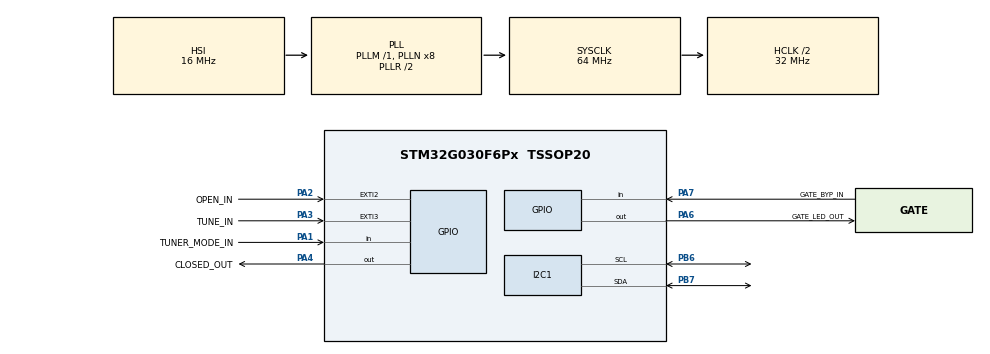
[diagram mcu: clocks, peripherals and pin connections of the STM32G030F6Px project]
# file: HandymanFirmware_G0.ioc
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I2C1.Timing=0x00B07CB4
Mcu.Family=STM32G0
Mcu.Name=STM32G030F6Px
Mcu.Package=TSSOP20
NVIC.EXTI2_3_IRQn=true\:0\:0\:false\:false\:true\:true\:true\:true
NVIC.TIM14_IRQn=true\:0\:0\:false\:false\:true\:true\:true\:true
PA1.GPIO_Label=TUNER_MODE_IN
PA1.Signal=GPIO_Input
PA13.Mode=Serial_Wire
PA13.Signal=SYS_SWDIO
PA14-BOOT0.Mode=Serial_Wire
PA14-BOOT0.Signal=SYS_SWCLK
PA14-BOOT0__PA15.StandardMode=true
PA2.GPIO_Label=OPEN_IN
PA2.GPIO_ModeDefaultEXTI=GPIO_MODE_IT_RISING_FALLING
PA2.Signal=GPXTI2
PA3.GPIO_Label=TUNE_IN
PA3.GPIO_ModeDefaultEXTI=GPIO_MODE_IT_RISING
PA3.Signal=GPXTI3
PA4.GPIO_Label=CLOSED_OUT
PA4.Signal=GPIO_Output
PA6.GPIO_Label=GATE_LED_OUT
PA6.Signal=GPIO_Output
PA7.GPIO_Label=GATE_BYP_IN
PA7.Signal=GPIO_Input
PB0__PB1__PB2__PA8.StandardMode=true
PB3__PB4__PB5__PB6.StandardMode=true
PB6.Mode=I2C
PB6.Signal=I2C1_SCL
PB7.Mode=I2C
PB7.Signal=I2C1_SDA
PB7__PB8.StandardMode=true
PC14-OSC32_IN\ (PC14).Mode=LSE-External-Oscillator
PC14-OSC32_IN\ (PC14).Signal=RCC_OSC32_IN
PC14-OSC32_IN\ (PC14)__PB9.StandardMode=true
PC15-OSC32_OUT\ (PC15).Mode=LSE-External-Oscillator
PC15-OSC32_OUT\ (PC15).Signal=RCC_OSC32_OUT
ProjectManager.HeapSize=0x200
ProjectManager.StackSize=0x400
ProjectManager.TargetToolchain=STM32CubeIDE
RCC.ADCFreq_Value=64000000
RCC.AHBCLKDivider=RCC_SYSCLK_DIV2
RCC.AHBFreq_Value=32000000
RCC.CortexFreq_Value=32000000
RCC.EXTERNAL_CLOCK_VALUE=12288000
RCC.HCLKFreq_Value=32000000
RCC.HSE_VALUE=8000000
RCC.HSICalibrationValue=67
RCC.HSI_VALUE=16000000
RCC.RTCClockSelection=RCC_RTCCLKSOURCE_LSE
RCC.SYSCLKFreq_VALUE=64000000
RCC.SYSCLKSource=RCC_SYSCLKSOURCE_PLLCLK
RCC.VCOOutputFreq_Value=128000000
TIM14.Period=6399
TIM14.Prescaler=0
VP_TIM14_VS_ClockSourceINT.Mode=Enable_Timer
board=custom

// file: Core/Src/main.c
/* USER CODE BEGIN Header */
/**
 ******************************************************************************
 * @file           : main.c
 * @brief          : Main program body
 ******************************************************************************
 * @attention
 *
 * Copyright (c) 2025 STMicroelectronics.
 * All rights reserved.
 *
 * This software is licensed under terms that can be found in the LICENSE file
 * in the root directory of this software component.
 * If no LICENSE file comes with this software, it is provided AS-IS.
 *
 ******************************************************************************
 */
/* USER CODE END Header */
#include "main.h"

/* USER CODE BEGIN Includes */
#include "tuning.h"
/* USER CODE END Includes */

I2C_HandleTypeDef hi2c1;

TIM_HandleTypeDef htim14;

/* USER CODE BEGIN PV */
volatile uint32_t timerTick = 0;
//volatile uint32_t *TICK_COUNT = &timerTick;

// device state stuff
uint8_t gateIsOpen = 0;
uint8_t tunerMode = 0;
uint8_t bypassGate = 0;

tuning_error_t tuning;

/* USER CODE END PV */

void SystemClock_Config(void);
static void MX_GPIO_Init(void);
static void MX_I2C1_Init(void);
static void MX_TIM14_Init(void);
/* USER CODE BEGIN PFP */
// call this to check the footswitch and bypass switch
void checkSwitches();
// helper to open/close the noise gate GPIO
void setGate(uint8_t isOpen);
// update the tuning display
void updateTuningDisplay();

/* USER CODE END PFP */

/* USER CODE BEGIN 0 */

uint32_t get_timer_tick() {
	return timerTick;
}

void checkSwitches() {
	// same speed limiting idea as the display function
	static const uint32_t minRefreshMs = 50;
	static uint32_t lastCheck = 0;
	uint32_t now = SysTick->VAL;
	if ((now - lastCheck) > minRefreshMs) {
		lastCheck = now;
		//footswitch
		uint8_t footswitch = (uint8_t) HAL_GPIO_ReadPin(GPIOA,
				TUNER_MODE_IN_Pin);
		if (footswitch != tunerMode) {
			tunerMode = footswitch;
			//switching the display on/off here
			ssd1306_SetDisplayOn(tunerMode);
			if(tunerMode){
				setGate(0);
			} else {
				setGate(1);
			}
		}
		// gate bypass switch
		uint8_t bp = (uint8_t) HAL_GPIO_ReadPin(GPIOA, GATE_BYP_IN_Pin);
		bypassGate = bp;
		uint8_t led = (bypassGate) ? 0 : 1;
		if(bypassGate){
			setGate(1);
		}
			// turn the LED on/off as apropriate
		HAL_GPIO_WritePin(GPIOA, GATE_LED_OUT_Pin, led);
	}

}

void setGate(uint8_t value) {
if(value != gateIsOpen && !bypassGate){
	gateIsOpen = value;
	GPIO_PinState state = gateIsOpen > 0 ? GPIO_PIN_RESET : GPIO_PIN_SET;
	HAL_GPIO_WritePin(GPIOA, CLOSED_OUT_Pin, state);
}
}

void updateTuningDisplay() {
	static const uint32_t minRefreshMs = 40;
	static uint32_t lastUpdate = 0;
	uint32_t now = SysTick->VAL;
	if ((now - lastUpdate) > minRefreshMs) {
		lastUpdate = now;
		//tuning_update_error(&tuning);
		tuning_update_display(&tuning);
	}

}

//===============================================================

// TIM14 callback for the timer
void HAL_TIM_PeriodElapsedCallback(TIM_HandleTypeDef*) {
	++timerTick;
}
// ISR for the tuning/threshold interrupts

void HAL_GPIO_EXTI_Rising_Callback(uint16_t pin) {
	if (pin == TUNE_IN_Pin && tunerMode) {
		tuning_rising_edge(timerTick);
	} else if (pin == OPEN_IN_Pin) {
		setGate(1);
		if(tunerMode){
			tuning_start_listening();
		}
	}

}

void HAL_GPIO_EXTI_Falling_Callback(uint16_t pin) {
	if (pin == OPEN_IN_Pin) {
		setGate(0);
		if(tunerMode){
			tuning_stop_listening();
		}
	} else if(pin == TUNE_IN_Pin && tunerMode){
		tuning_falling_edge(timerTick);
	}
}
/* USER CODE END 0 */

int main(void)
{

  /* MCU Configuration--------------------------------------------------------*/

  /* Reset of all peripherals, Initializes the Flash interface and the Systick. */
  HAL_Init();

  /* Configure the system clock */
  SystemClock_Config();

  /* Initialize all configured peripherals */
  MX_GPIO_Init();
  MX_I2C1_Init();
  MX_TIM14_Init();
  /* USER CODE BEGIN 2 */
  HAL_TIM_Base_Start_IT(&htim14);
	// initialize the display
	ssd1306_Init();
  /* USER CODE END 2 */

  /* Infinite loop */
  /* USER CODE BEGIN WHILE */
	while (1) {
		if (tunerMode) {
			tuning_update_error(&tuning);
			updateTuningDisplay();
		}
		checkSwitches();
    /* USER CODE END WHILE */

	}
}

void SystemClock_Config(void)
{
  RCC_OscInitTypeDef RCC_OscInitStruct = {0};
  RCC_ClkInitTypeDef RCC_ClkInitStruct = {0};

  /** Configure the main internal regulator output voltage
  */
  HAL_PWREx_ControlVoltageScaling(PWR_REGULATOR_VOLTAGE_SCALE1);

  /** Initializes the RCC Oscillators according to the specified parameters
  * in the RCC_OscInitTypeDef structure.
  */
  RCC_OscInitStruct.OscillatorType = RCC_OSCILLATORTYPE_HSI;
  RCC_OscInitStruct.HSIState = RCC_HSI_ON;
  RCC_OscInitStruct.HSIDiv = RCC_HSI_DIV1;
  RCC_OscInitStruct.HSICalibrationValue = 67;
  RCC_OscInitStruct.PLL.PLLState = RCC_PLL_ON;
  RCC_OscInitStruct.PLL.PLLSource = RCC_PLLSOURCE_HSI;
  RCC_OscInitStruct.PLL.PLLM = RCC_PLLM_DIV1;
  RCC_OscInitStruct.PLL.PLLN = 8;
  RCC_OscInitStruct.PLL.PLLP = RCC_PLLP_DIV2;
  RCC_OscInitStruct.PLL.PLLR = RCC_PLLR_DIV2;
  if (HAL_RCC_OscConfig(&RCC_OscInitStruct) != HAL_OK)
  {
    Error_Handler();
  }

  /** Initializes the CPU, AHB and APB buses clocks
  */
  RCC_ClkInitStruct.ClockType = RCC_CLOCKTYPE_HCLK|RCC_CLOCKTYPE_SYSCLK
                              |RCC_CLOCKTYPE_PCLK1;
  RCC_ClkInitStruct.SYSCLKSource = RCC_SYSCLKSOURCE_PLLCLK;
  RCC_ClkInitStruct.AHBCLKDivider = RCC_SYSCLK_DIV2;
  RCC_ClkInitStruct.APB1CLKDivider = RCC_HCLK_DIV1;

  if (HAL_RCC_ClockConfig(&RCC_ClkInitStruct, FLASH_LATENCY_1) != HAL_OK)
  {
    Error_Handler();
  }
}

static void MX_I2C1_Init(void)
{

  hi2c1.Instance = I2C1;
  hi2c1.Init.Timing = 0x00B07CB4;
  hi2c1.Init.OwnAddress1 = 0;
  hi2c1.Init.AddressingMode = I2C_ADDRESSINGMODE_7BIT;
  hi2c1.Init.DualAddressMode = I2C_DUALADDRESS_DISABLE;
  hi2c1.Init.OwnAddress2 = 0;
  hi2c1.Init.OwnAddress2Masks = I2C_OA2_NOMASK;
  hi2c1.Init.GeneralCallMode = I2C_GENERALCALL_DISABLE;
  hi2c1.Init.NoStretchMode = I2C_NOSTRETCH_DISABLE;
  if (HAL_I2C_Init(&hi2c1) != HAL_OK)
  {
    Error_Handler();
  }

  /** Configure Analogue filter
  */
  if (HAL_I2CEx_ConfigAnalogFilter(&hi2c1, I2C_ANALOGFILTER_ENABLE) != HAL_OK)
  {
    Error_Handler();
  }

  /** Configure Digital filter
  */
  if (HAL_I2CEx_ConfigDigitalFilter(&hi2c1, 0) != HAL_OK)
  {
    Error_Handler();
  }

}

static void MX_TIM14_Init(void)
{

  htim14.Instance = TIM14;
  htim14.Init.Prescaler = 0;
  htim14.Init.CounterMode = TIM_COUNTERMODE_UP;
  htim14.Init.Period = 6399;
  htim14.Init.ClockDivision = TIM_CLOCKDIVISION_DIV1;
  htim14.Init.AutoReloadPreload = TIM_AUTORELOAD_PRELOAD_DISABLE;
  if (HAL_TIM_Base_Init(&htim14) != HAL_OK)
  {
    Error_Handler();
  }

}

static void MX_GPIO_Init(void)
{
  GPIO_InitTypeDef GPIO_InitStruct = {0};

  /* GPIO Ports Clock Enable */
  __HAL_RCC_GPIOB_CLK_ENABLE();
  __HAL_RCC_GPIOC_CLK_ENABLE();
  __HAL_RCC_GPIOA_CLK_ENABLE();

  /*Configure GPIO pin Output Level */
  HAL_GPIO_WritePin(GPIOA, CLOSED_OUT_Pin|GATE_LED_OUT_Pin, GPIO_PIN_RESET);

  /*Configure GPIO pins : TUNER_MODE_IN_Pin GATE_BYP_IN_Pin */
  GPIO_InitStruct.Pin = TUNER_MODE_IN_Pin|GATE_BYP_IN_Pin;
  GPIO_InitStruct.Mode = GPIO_MODE_INPUT;
  GPIO_InitStruct.Pull = GPIO_NOPULL;
  HAL_GPIO_Init(GPIOA, &GPIO_InitStruct);

  /*Configure GPIO pin : OPEN_IN_Pin */
  GPIO_InitStruct.Pin = OPEN_IN_Pin;
  GPIO_InitStruct.Mode = GPIO_MODE_IT_RISING_FALLING;
  GPIO_InitStruct.Pull = GPIO_NOPULL;
  HAL_GPIO_Init(OPEN_IN_GPIO_Port, &GPIO_InitStruct);

  /*Configure GPIO pin : TUNE_IN_Pin */
  GPIO_InitStruct.Pin = TUNE_IN_Pin;
  GPIO_InitStruct.Mode = GPIO_MODE_IT_RISING;
  GPIO_InitStruct.Pull = GPIO_NOPULL;
  HAL_GPIO_Init(TUNE_IN_GPIO_Port, &GPIO_InitStruct);

  /*Configure GPIO pins : CLOSED_OUT_Pin GATE_LED_OUT_Pin */
  GPIO_InitStruct.Pin = CLOSED_OUT_Pin|GATE_LED_OUT_Pin;
  GPIO_InitStruct.Mode = GPIO_MODE_OUTPUT_PP;
  GPIO_InitStruct.Pull = GPIO_NOPULL;
  GPIO_InitStruct.Speed = GPIO_SPEED_FREQ_LOW;
  HAL_GPIO_Init(GPIOA, &GPIO_InitStruct);

  /* EXTI interrupt init*/
  HAL_NVIC_SetPriority(EXTI2_3_IRQn, 0, 0);
  HAL_NVIC_EnableIRQ(EXTI2_3_IRQn);

}

void Error_Handler(void)
{
	__disable_irq();
	while (1) {
	}
}
